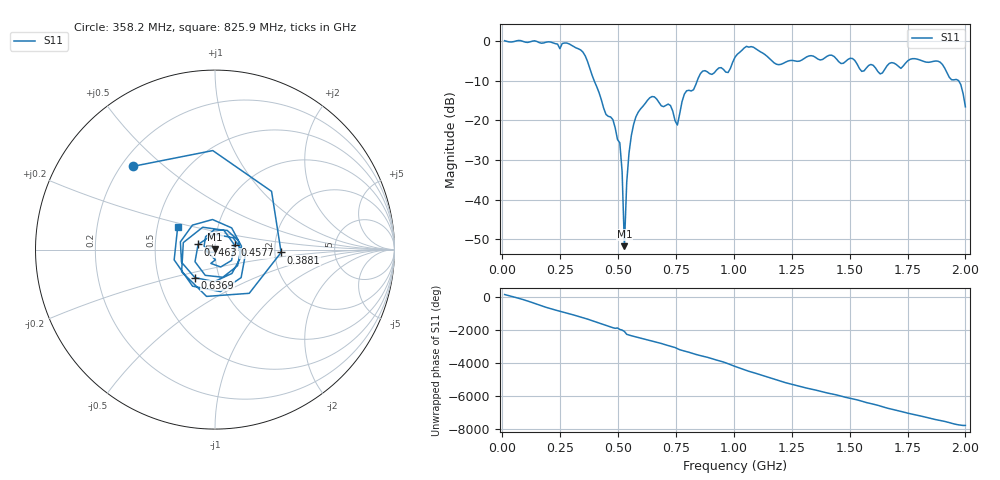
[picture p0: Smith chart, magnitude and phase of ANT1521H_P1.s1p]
!Created with skrf (http://scikit-rf.org).
# Hz S RI R 50.0
!freq ReS11 ImS11
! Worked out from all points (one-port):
!   201 points, 10 MHz to 2 GHz, reference 50 ohm
!   lowest |S11| = -51.8 dB at 527.4 MHz (marker M1), VSWR 1.01, Z = 50.1 + j0.231 ohm
!   |S11| at or under -10 dB: 396.8 MHz to 842 MHz (445.2 MHz wide, 71.9 % of centre); 1.971 GHz to end of sweep
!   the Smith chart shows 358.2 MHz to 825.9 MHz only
!   S11 on the Smith chart (normalised r, x): 358.2 MHz: 0.25, +0.40; 388.1 MHz: 2.16, -0.08; 457.8 MHz: 1.24, +0.06; 636.9 MHz: 0.76, -0.25; 746.3 MHz: 0.83, +0.05; 825.9 MHz: 0.64, +0.17
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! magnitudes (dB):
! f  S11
! 10 MHz  0.1
! 258.8 MHz  -0.6
! 358.2 MHz  -3.7
! 388.1 MHz  -8.7
! 457.8 MHz  -19.0
! 507.5 MHz  -25.7
! 517.5 MHz  -32.9
! 527.4 MHz  -51.8
! 537.4 MHz  -35.7
! 557.2 MHz  -23.9
! 577.1 MHz  -19.1
! 636.9 MHz  -14.3
! 726.4 MHz  -16.3
! 746.3 MHz  -20.1
! 756.2 MHz  -21.2
! 786.1 MHz  -13.4
! 825.9 MHz  -12.3
! 865.7 MHz  -7.6
! 975.1 MHz  -7.9
! 1.005 GHz  -4.1
! 1.075 GHz  -1.4
! 1.254 GHz  -4.9
! 1.502 GHz  -4.3
! 1.632 GHz  -8.3
! 1.751 GHz  -5.0
! 1.891 GHz  -5.3
! 1.97 GHz  -9.9
! 2 GHz  -16.6
